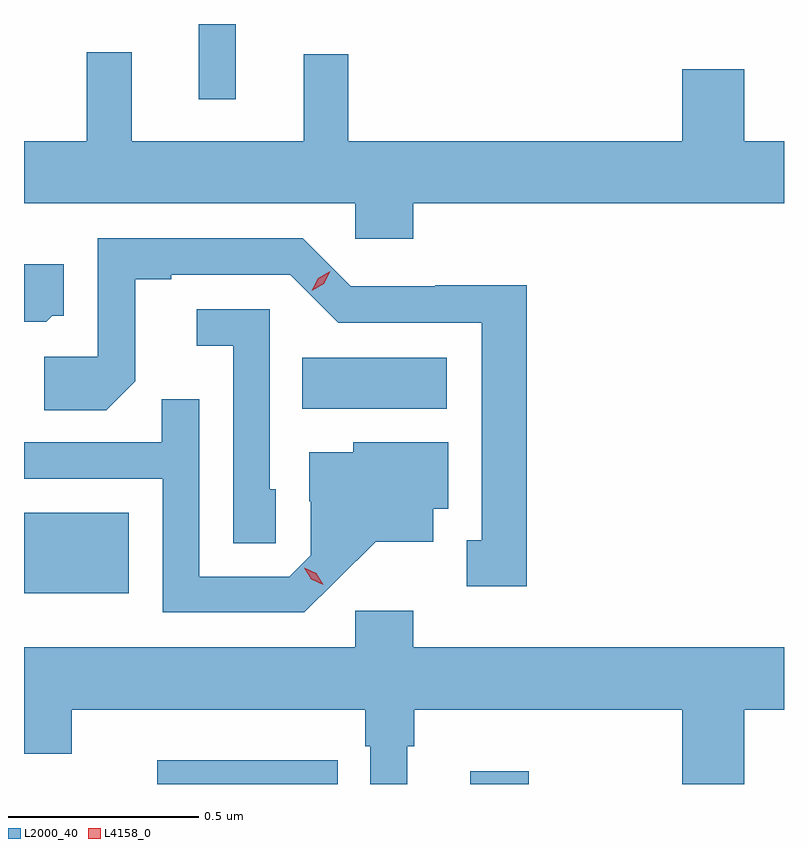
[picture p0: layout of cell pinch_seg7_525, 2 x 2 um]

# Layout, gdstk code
import gdstk
lib = gdstk.Library(unit=1e-6, precision=1e-09)
def R(c, l, rs):  # rectangles x0, y0, x1, y1
    for r in rs: c.add(gdstk.rectangle(r[:2], r[2:], *l))
def P(c, l, *ps):  # polygons
    for p in ps: c.add(gdstk.Polygon(p, *l))
L2000_40 = (2000, 40)
L4158_0 = (4158, 0)

pinch_seg7_525 = lib.new_cell('pinch_seg7_525')
R(pinch_seg7_525, L2000_40, [(128.486,1073.68,128.64,1073.713), (127.312,1074.182,127.588,1074.394), (128.044,1074.668,128.425,1074.802), (127.772,1075.482,127.869,1075.68)])
P(pinch_seg7_525, L2000_40, [(128.336,1075.208),(129.312,1075.208),(129.312,1075.372),(129.208,1075.372),(129.208,1075.561),(129.044,1075.561),(129.044,1075.372),(128.165,1075.372),(128.165,1075.6),(128.048,1075.6),(128.048,1075.372),(127.595,1075.372),(127.595,1075.606),(127.477,1075.606),(127.477,1075.372),(127.312,1075.372),(127.312,1075.208),(128.184,1075.208),(128.184,1075.115),(128.336,1075.115)],
  [(128.635,1074.992),(128.394,1074.992),(128.394,1074.99),(128.172,1074.99),(128.046,1075.116),(127.506,1075.116),(127.506,1074.804),(127.365,1074.804),(127.365,1074.664),(127.529,1074.664),(127.605,1074.74),(127.605,1075.008),(127.699,1075.008),(127.699,1075.02),(128.013,1075.02),(128.139,1074.894),(128.516,1074.894),(128.516,1074.321),(128.477,1074.321),(128.477,1074.201),(128.635,1074.201)],
  [(127.386,1074.912),(127.417,1074.912),(127.417,1075.048),(127.312,1075.048),(127.312,1074.896),(127.37,1074.896)],
  [(127.974,1074.456),(127.959,1074.456),(127.959,1074.93),(127.767,1074.93),(127.767,1074.833),(127.863,1074.833),(127.863,1074.313),(127.974,1074.313)],
  [(128.134,1074.215),(128.237,1074.317),(128.389,1074.317),(128.389,1074.404),(128.428,1074.404),(128.428,1074.58),(128.178,1074.58),(128.178,1074.553),(128.063,1074.553),(128.063,1074.424),(128.067,1074.424),(128.067,1074.282),(128.01,1074.225),(127.773,1074.225),(127.773,1074.692),(127.675,1074.692),(127.675,1074.579),(127.312,1074.579),(127.312,1074.483),(127.677,1074.483),(127.677,1074.132),(128.05,1074.132)],
  [(128.336,1074.136),(128.184,1074.136),(128.184,1074.04),(127.312,1074.04),(127.312,1073.759),(127.438,1073.759),(127.438,1073.876),(128.21,1073.876),(128.21,1073.78),(128.223,1073.78),(128.223,1073.68),(128.32,1073.68),(128.32,1073.78),(128.339,1073.78),(128.339,1073.876),(129.044,1073.876),(129.044,1073.68),(129.208,1073.68),(129.208,1073.876),(129.312,1073.876),(129.312,1074.04),(128.336,1074.04)],
  [(128.138,1073.742),(128.03,1073.742),(128.03,1073.743),(127.662,1073.743),(127.662,1073.68),(128.138,1073.68)])
P(pinch_seg7_525, L4158_0, [(128.069,1074.978),(128.069,1074.978),(128.086,1075.011),(128.118,1075.03),(128.118,1075.03),(128.118,1075.029),(128.101,1074.997),(128.069,1074.978)],
  [(128.099,1074.205),(128.068,1074.219),(128.05,1074.249),(128.05,1074.249),(128.05,1074.249),(128.081,1074.234),(128.099,1074.205),(128.099,1074.205)])

lib.write_gds('pinch_seg7_525.gds')
